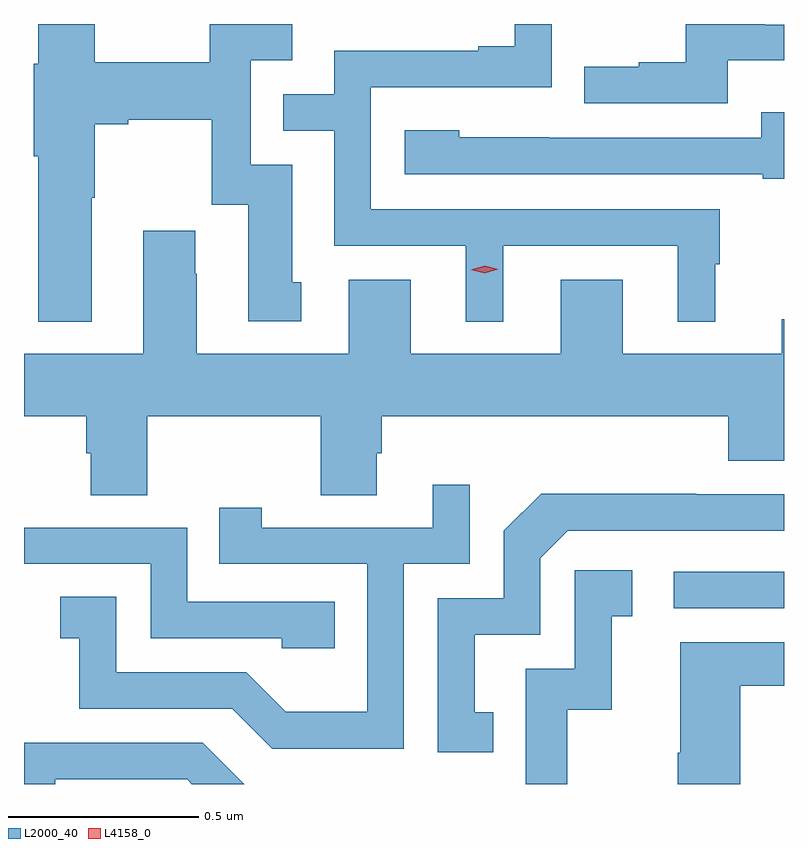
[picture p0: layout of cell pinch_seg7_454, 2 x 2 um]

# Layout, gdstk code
import gdstk
lib = gdstk.Library(unit=1e-6, precision=1e-09)
def R(c, l, rs):  # rectangles x0, y0, x1, y1
    for r in rs: c.add(gdstk.rectangle(r[:2], r[2:], *l))
def P(c, l, *ps):  # polygons
    for p in ps: c.add(gdstk.Polygon(p, *l))
L2000_40 = (2000, 40)
L4158_0 = (4158, 0)

pinch_seg7_454 = lib.new_cell('pinch_seg7_454')
R(pinch_seg7_454, L2000_40, [(301.191,1046.73,301.481,1046.826)])
P(pinch_seg7_454, L2000_40, [(300.742,1047.684),(301.202,1047.684),(301.202,1047.485),(301.3,1047.485),(301.3,1047.636),(301.312,1047.636),(301.312,1047.78),(300.393,1047.78),(300.393,1048.101),(300.87,1048.101),(300.87,1048.268),(300.772,1048.268),(300.772,1048.21),(300.677,1048.21),(300.677,1048.197),(300.297,1048.197),(300.297,1048.083),(300.163,1048.083),(300.163,1047.987),(300.297,1047.987),(300.297,1047.684),(300.644,1047.684),(300.644,1047.485),(300.742,1047.485)],
  [(301.333,1048.172),(301.481,1048.172),(301.481,1048.266),(301.43,1048.266),(301.43,1048.268),(301.223,1048.268),(301.223,1048.168),(301.099,1048.168),(301.099,1048.156),(300.955,1048.156),(300.955,1048.059),(301.333,1048.059)],
  [(299.659,1047.811),(299.667,1047.811),(299.667,1048.004),(299.755,1048.004),(299.755,1048.016),(299.975,1048.016),(299.975,1047.792),(300.071,1047.792),(300.071,1047.486),(300.211,1047.486),(300.211,1047.588),(300.187,1047.588),(300.187,1047.897),(300.078,1047.897),(300.078,1048.173),(300.187,1048.173),(300.187,1048.268),(299.97,1048.268),(299.97,1048.168),(299.667,1048.168),(299.667,1048.268),(299.519,1048.268),(299.519,1048.164),(299.507,1048.164),(299.507,1047.92),(299.519,1047.92),(299.519,1047.485),(299.659,1047.485)],
  [(301.481,1048.036),(301.421,1048.036),(301.421,1047.969),(300.863,1047.969),(300.863,1047.97),(300.627,1047.97),(300.627,1047.988),(300.483,1047.988),(300.483,1047.873),(301.425,1047.873),(301.425,1047.861),(301.481,1047.861)],
  [(299.805,1047.236),(300.262,1047.236),(300.262,1047.028),(300.409,1047.028),(300.409,1047.138),(300.422,1047.138),(300.422,1047.236),(301.334,1047.236),(301.334,1047.119),(301.481,1047.119),(301.481,1047.491),(301.475,1047.491),(301.475,1047.4),(301.057,1047.4),(301.057,1047.595),(300.893,1047.595),(300.893,1047.4),(300.499,1047.4),(300.499,1047.595),(300.335,1047.595),(300.335,1047.4),(299.935,1047.4),(299.935,1047.611),(299.932,1047.611),(299.932,1047.724),(299.795,1047.724),(299.795,1047.4),(299.481,1047.4),(299.481,1047.236),(299.645,1047.236),(299.645,1047.138),(299.657,1047.138),(299.657,1047.028),(299.805,1047.028)],
  [(300.48,1046.847),(300.654,1046.847),(300.654,1047.055),(300.557,1047.055),(300.557,1046.943),(300.106,1046.943),(300.106,1046.995),(299.995,1046.995),(299.995,1046.847),(300.384,1046.847),(300.384,1046.458),(300.17,1046.458),(300.066,1046.562),(299.724,1046.562),(299.724,1046.761),(299.577,1046.761),(299.577,1046.651),(299.626,1046.651),(299.626,1046.466),(300.029,1046.466),(300.134,1046.361),(300.48,1046.361)],
  [(300.716,1046.457),(300.667,1046.457),(300.667,1046.661),(300.84,1046.661),(300.84,1046.862),(300.912,1046.934),(301.481,1046.934),(301.481,1047.03),(301.25,1047.03),(301.25,1047.032),(300.842,1047.032),(300.744,1046.934),(300.744,1046.757),(300.57,1046.757),(300.57,1046.352),(300.716,1046.352)],
  [(300.299,1046.748),(299.91,1046.748),(299.91,1046.943),(299.481,1046.943),(299.481,1046.847),(299.814,1046.847),(299.814,1046.652),(300.159,1046.652),(300.159,1046.625),(300.299,1046.625)],
  [(300.91,1046.463),(301.028,1046.463),(301.028,1046.709),(301.081,1046.709),(301.081,1046.83),(300.93,1046.83),(300.93,1046.571),(300.801,1046.571),(300.801,1046.268),(300.91,1046.268)],
  [(301.366,1046.527),(301.481,1046.527),(301.481,1046.641),(301.208,1046.641),(301.208,1046.35),(301.201,1046.35),(301.201,1046.268),(301.366,1046.268)],
  [(299.563,1046.28),(299.91,1046.28),(299.922,1046.268),(300.06,1046.268),(299.952,1046.376),(299.481,1046.376),(299.481,1046.268),(299.563,1046.268)])
P(pinch_seg7_454, L4158_0, [(300.693,1047.612),(300.657,1047.621),(300.657,1047.621),(300.657,1047.621),(300.693,1047.632),(300.729,1047.623),(300.729,1047.623),(300.729,1047.623)])

lib.write_gds('pinch_seg7_454.gds')
